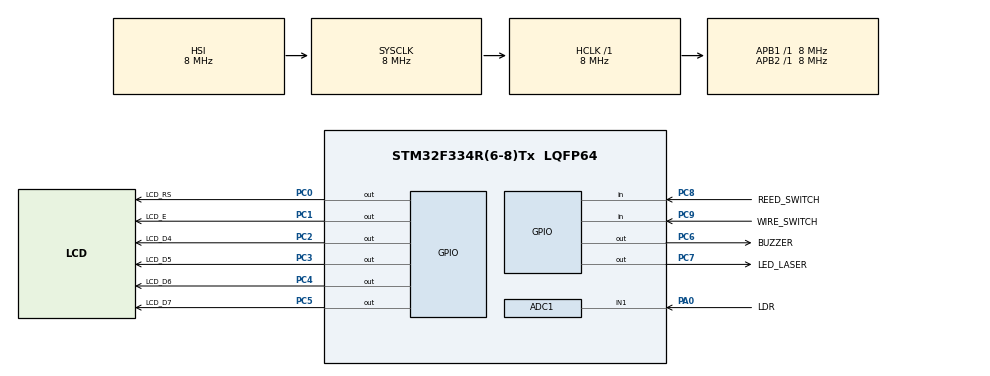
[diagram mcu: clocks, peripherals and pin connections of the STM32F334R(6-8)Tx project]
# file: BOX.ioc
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ADC1.Channel-2\#ChannelRegularConversion=ADC_CHANNEL_1
ADC1.NbrOfConversionFlag=1
ADC1.Offset-2\#ChannelRegularConversion=0
ADC1.OffsetNumber-2\#ChannelRegularConversion=ADC_OFFSET_NONE
ADC1.Rank-2\#ChannelRegularConversion=1
ADC1.SamplingTime-2\#ChannelRegularConversion=ADC_SAMPLETIME_1CYCLE_5
ADC1.master=1
Mcu.Family=STM32F3
Mcu.Name=STM32F334R(6-8)Tx
Mcu.Package=LQFP64
NVIC.ADC1_2_IRQn=true\:0\:0\:false\:false\:true\:true\:true
NVIC.PriorityGroup=NVIC_PRIORITYGROUP_4
PA0.GPIO_Label=LDR
PA0.Mode=IN1-Single-Ended
PA0.Signal=ADC1_IN1
PC0.GPIO_Label=LCD_RS
PC0.Signal=GPIO_Output
PC1.GPIO_Label=LCD_E
PC1.Signal=GPIO_Output
PC2.GPIO_Label=LCD_D4
PC2.Signal=GPIO_Output
PC3.GPIO_Label=LCD_D5
PC3.Signal=GPIO_Output
PC4.GPIO_Label=LCD_D6
PC4.Signal=GPIO_Output
PC5.GPIO_Label=LCD_D7
PC5.Signal=GPIO_Output
PC6.GPIO_Label=BUZZER
PC6.Signal=GPIO_Output
PC7.GPIO_Label=LED_LASER
PC7.Signal=GPIO_Output
PC8.GPIO_Label=REED_SWITCH
PC8.GPIO_PuPd=GPIO_PULLUP
PC8.Signal=GPIO_Input
PC9.GPIO_Label=WIRE_SWITCH
PC9.GPIO_PuPd=GPIO_PULLUP
PC9.Signal=GPIO_Input
ProjectManager.HeapSize=0x200
ProjectManager.StackSize=0x400
ProjectManager.TargetToolchain=SW4STM32
RCC.AHBFreq_Value=8000000
RCC.APB1Freq_Value=8000000
RCC.APB2Freq_Value=8000000
RCC.CortexFreq_Value=8000000
RCC.HSE_VALUE=8000000
RCC.HSI_VALUE=8000000
RCC.LSE_VALUE=32768
RCC.PLLMUL=RCC_PLL_MUL4
RCC.SYSCLKFreq_VALUE=8000000
board=custom

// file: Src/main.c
/* USER CODE BEGIN Header */
/**
  ******************************************************************************
  * @file           : main.c
  * @brief          : Main program body
  ******************************************************************************
  * @attention
  *
  * <h2><center>&copy; Copyright (c) 2019 STMicroelectronics.
  * All rights reserved.</center></h2>
  *
  * This software component is licensed by ST under BSD 3-Clause license,
  * the "License"; You may not use this file except in compliance with the
  * License. You may obtain a copy of the License at:
  *                        opensource.org/licenses/BSD-3-Clause
  *
  ******************************************************************************
  */
/* USER CODE END Header */

#include "main.h"

/* USER CODE BEGIN Includes */
#include "lcd.h"
#include "Level0.h"
#include "Level1.h"
#include "Level2.h"
#include "Level3.h"
/* USER CODE END Includes */

ADC_HandleTypeDef hadc1;

void SystemClock_Config(void);

static void MX_GPIO_Init(void);

static void MX_ADC1_Init(void);

/* USER CODE BEGIN 0 */
void show_message(Lcd_HandleTypeDef *lcd, char *line1, char *line2) {
    Lcd_clear(lcd);
    Lcd_cursor(lcd, 0, 0);
    Lcd_string(lcd, line1);
    Lcd_cursor(lcd, 1, 0);
    Lcd_string(lcd, line2);
}

void buzz(uint32_t delay) {
    HAL_GPIO_WritePin(BUZZER_GPIO_Port, BUZZER_Pin, GPIO_PIN_SET);
    HAL_Delay(delay);
    HAL_GPIO_WritePin(BUZZER_GPIO_Port, BUZZER_Pin, GPIO_PIN_RESET);
}
/* USER CODE END 0 */

int main(void) {

    /* MCU Configuration--------------------------------------------------------*/

    /* Reset of all peripherals, Initializes the Flash interface and the Systick. */
    HAL_Init();

    /* Configure the system clock */
    SystemClock_Config();

    /* Initialize all configured peripherals */
    MX_GPIO_Init();
    MX_ADC1_Init();
    /* USER CODE BEGIN 2 */
    Lcd_PortType ports[] = {LCD_D4_GPIO_Port, LCD_D5_GPIO_Port, LCD_D6_GPIO_Port, LCD_D7_GPIO_Port};
    Lcd_PinType pins[] = {LCD_D4_Pin, LCD_D5_Pin, LCD_D6_Pin, LCD_D7_Pin};

    Lcd_HandleTypeDef lcd = Lcd_create(
            ports,
            pins,
            LCD_RS_GPIO_Port, LCD_RS_Pin,
            LCD_E_GPIO_Port, LCD_E_Pin,
            LCD_4_BIT_MODE
    );
    /* USER CODE END 2 */

    /* Infinite loop */

    /* USER CODE BEGIN 3 */
    show_message(&lcd, "Przygotowany do", "diagnostyki");
    Level0 *level0 = Level0_Construct(&hadc1);
    Level0_Run(level0);
    Level0_Destroy(level0);

    buzz(200);

    show_message(&lcd, "Chron laser", "przed swiatlem");
    Level1 *level1 = Level1_Construct(&hadc1);
    Level1_Run(level1);
    Level1_Destroy(level1);

    buzz(200);

    show_message(&lcd, "Niski poziom", "baterii");
    Level2 *level2 = Level2_Construct();
    Level2_Run(level2);
    Level2_Destroy(level2);

    buzz(200);

    show_message(&lcd, "Blad CPU", "0x73914");
    Level3 *level3 = Level3_Construct();
    Level3_Run(level3);
    Level3_Destroy(level3);

    buzz(200);

    show_message(&lcd, "Zajrzyj pod", "pudelko");
    while (1) {}

    /* USER CODE END 3 */
}

void SystemClock_Config(void) {
    RCC_OscInitTypeDef RCC_OscInitStruct = {0};
    RCC_ClkInitTypeDef RCC_ClkInitStruct = {0};
    RCC_PeriphCLKInitTypeDef PeriphClkInit = {0};

    /** Initializes the CPU, AHB and APB busses clocks
    */
    RCC_OscInitStruct.OscillatorType = RCC_OSCILLATORTYPE_HSI;
    RCC_OscInitStruct.HSIState = RCC_HSI_ON;
    RCC_OscInitStruct.HSICalibrationValue = RCC_HSICALIBRATION_DEFAULT;
    RCC_OscInitStruct.PLL.PLLState = RCC_PLL_ON;
    RCC_OscInitStruct.PLL.PLLSource = RCC_PLLSOURCE_HSI;
    RCC_OscInitStruct.PLL.PLLMUL = RCC_PLL_MUL4;
    if (HAL_RCC_OscConfig(&RCC_OscInitStruct) != HAL_OK) {
        Error_Handler();
    }
    /** Initializes the CPU, AHB and APB busses clocks
    */
    RCC_ClkInitStruct.ClockType = RCC_CLOCKTYPE_HCLK | RCC_CLOCKTYPE_SYSCLK
                                  | RCC_CLOCKTYPE_PCLK1 | RCC_CLOCKTYPE_PCLK2;
    RCC_ClkInitStruct.SYSCLKSource = RCC_SYSCLKSOURCE_HSI;
    RCC_ClkInitStruct.AHBCLKDivider = RCC_SYSCLK_DIV1;
    RCC_ClkInitStruct.APB1CLKDivider = RCC_HCLK_DIV1;
    RCC_ClkInitStruct.APB2CLKDivider = RCC_HCLK_DIV1;

    if (HAL_RCC_ClockConfig(&RCC_ClkInitStruct, FLASH_LATENCY_0) != HAL_OK) {
        Error_Handler();
    }
    PeriphClkInit.PeriphClockSelection = RCC_PERIPHCLK_ADC12;
    PeriphClkInit.Adc12ClockSelection = RCC_ADC12PLLCLK_DIV1;
    if (HAL_RCCEx_PeriphCLKConfig(&PeriphClkInit) != HAL_OK) {
        Error_Handler();
    }
}

static void MX_ADC1_Init(void) {

    ADC_MultiModeTypeDef multimode = {0};
    ADC_ChannelConfTypeDef sConfig = {0};

    /** Common config
    */
    hadc1.Instance = ADC1;
    hadc1.Init.ClockPrescaler = ADC_CLOCK_ASYNC_DIV1;
    hadc1.Init.Resolution = ADC_RESOLUTION_12B;
    hadc1.Init.ScanConvMode = ADC_SCAN_DISABLE;
    hadc1.Init.ContinuousConvMode = DISABLE;
    hadc1.Init.DiscontinuousConvMode = DISABLE;
    hadc1.Init.ExternalTrigConvEdge = ADC_EXTERNALTRIGCONVEDGE_NONE;
    hadc1.Init.ExternalTrigConv = ADC_SOFTWARE_START;
    hadc1.Init.DataAlign = ADC_DATAALIGN_RIGHT;
    hadc1.Init.NbrOfConversion = 1;
    hadc1.Init.DMAContinuousRequests = DISABLE;
    hadc1.Init.EOCSelection = ADC_EOC_SINGLE_CONV;
    hadc1.Init.LowPowerAutoWait = DISABLE;
    hadc1.Init.Overrun = ADC_OVR_DATA_OVERWRITTEN;
    if (HAL_ADC_Init(&hadc1) != HAL_OK) {
        Error_Handler();
    }
    /** Configure the ADC multi-mode
    */
    multimode.Mode = ADC_MODE_INDEPENDENT;
    if (HAL_ADCEx_MultiModeConfigChannel(&hadc1, &multimode) != HAL_OK) {
        Error_Handler();
    }
    /** Configure Regular Channel
    */
    sConfig.Channel = ADC_CHANNEL_1;
    sConfig.Rank = ADC_REGULAR_RANK_1;
    sConfig.SingleDiff = ADC_SINGLE_ENDED;
    sConfig.SamplingTime = ADC_SAMPLETIME_1CYCLE_5;
    sConfig.OffsetNumber = ADC_OFFSET_NONE;
    sConfig.Offset = 0;
    if (HAL_ADC_ConfigChannel(&hadc1, &sConfig) != HAL_OK) {
        Error_Handler();
    }

}

static void MX_GPIO_Init(void) {
    GPIO_InitTypeDef GPIO_InitStruct = {0};

    /* GPIO Ports Clock Enable */
    __HAL_RCC_GPIOC_CLK_ENABLE();
    __HAL_RCC_GPIOA_CLK_ENABLE();

    /*Configure GPIO pin Output Level */
    HAL_GPIO_WritePin(GPIOC, LCD_RS_Pin | LCD_E_Pin | LCD_D4_Pin | LCD_D5_Pin
                             | LCD_D6_Pin | LCD_D7_Pin | BUZZER_Pin | LED_LASER_Pin, GPIO_PIN_RESET);

    /*Configure GPIO pins : LCD_RS_Pin LCD_E_Pin LCD_D4_Pin LCD_D5_Pin
                             LCD_D6_Pin LCD_D7_Pin BUZZER_Pin LED_LASER_Pin */
    GPIO_InitStruct.Pin = LCD_RS_Pin | LCD_E_Pin | LCD_D4_Pin | LCD_D5_Pin
                          | LCD_D6_Pin | LCD_D7_Pin | BUZZER_Pin | LED_LASER_Pin;
    GPIO_InitStruct.Mode = GPIO_MODE_OUTPUT_PP;
    GPIO_InitStruct.Pull = GPIO_NOPULL;
    GPIO_InitStruct.Speed = GPIO_SPEED_FREQ_LOW;
    HAL_GPIO_Init(GPIOC, &GPIO_InitStruct);

    /*Configure GPIO pins : REED_SWITCH_Pin WIRE_SWITCH_Pin */
    GPIO_InitStruct.Pin = REED_SWITCH_Pin | WIRE_SWITCH_Pin;
    GPIO_InitStruct.Mode = GPIO_MODE_INPUT;
    GPIO_InitStruct.Pull = GPIO_PULLUP;
    HAL_GPIO_Init(GPIOC, &GPIO_InitStruct);

}

void Error_Handler(void) {
}

/************************ (C) COPYRIGHT STMicroelectronics *****END OF FILE****/
